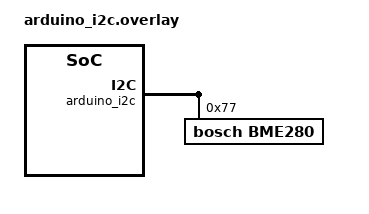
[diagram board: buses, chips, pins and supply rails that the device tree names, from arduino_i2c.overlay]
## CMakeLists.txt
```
# SPDX-License-Identifier: Apache-2.0

cmake_minimum_required(VERSION 3.20.0)
set(BOARD nucleo_f091rc)
find_package(Zephyr REQUIRED HINTS $ENV{ZEPHYR_BASE})
project(Weerstation)

# Voeg de include-directory toe aan de target zodat Weerstation.h gevonden kan worden
target_include_directories(app PRIVATE ${CMAKE_SOURCE_DIR}/include)

# Voeg alle C bestanden uit de src directory toe aan de target
FILE(GLOB app_sources src/*.c)
target_sources(app PRIVATE ${app_sources})
```

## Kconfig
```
# Copyright (c) 2020, Nordic Semiconductor ASA
# SPDX-License-Identifier: Apache-2.0

config LOG
	default y

config LOG_PRINTK
	default y

 config SENSOR_LOG_LEVEL
	default 4

# Enable SPI and I2C support by default so that the sample works with
# the device connected either way. These defaults can be overridden if
# needed.
config SPI
	default y

config I2C
	default y

source "Kconfig.zephyr"
```

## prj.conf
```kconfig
CONFIG_GPIO=y


CONFIG_PRINTK=y
CONFIG_HEAP_MEM_POOL_SIZE=256
CONFIG_ASSERT=y

#CONFIG_SERIAL=y
#CONFIG_UART_INTERRUPT_DRIVEN=y


#toevoeging voor de bme280 sensor
#CONFIG_SENSOR=y
CONFIG_SENSOR=y
CONFIG_I2C=y
CONFIG_BME280=y

#config for uart
CONFIG_SERIAL=y
CONFIG_UART_INTERRUPT_DRIVEN=y

CONFIG_SENSOR=y
CONFIG_SENSOR_ASYNC_API=y
```

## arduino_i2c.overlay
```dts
/*
 * Copyright (c) 2020, Nordic Semiconductor ASA
 *
 * SPDX-License-Identifier: Apache-2.0
 */

/*
 * Example configuration of a BME280 device on an Arduino I2C bus.
 *
 * Device address 0x77 is assumed. Your device may have a different
 * address; check your device documentation if unsure.
 */
&arduino_i2c {
	status = "okay";
	bme280@77 {
		compatible = "bosch,bme280";
		reg = <0x77>;
	};
};
```

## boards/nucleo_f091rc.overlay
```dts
/ {
    chosen {
		zephyr,console = &usart1;
		zephyr,shell-uart = &usart1;
    };
};

&usart1 {
	pinctrl-0 = <&usart1_tx_pa9 &usart1_rx_pa10>;
	pinctrl-names = "default";
	current-speed = <115200>;
	status = "okay";
};

&i2c1 { 
    pinctrl-0 = <&i2c1_scl_pb8 &i2c1_sda_pb9>;
    pinctrl-names = "default";
    clock-frequency = <I2C_BITRATE_STANDARD>;
    status = "okay";

    bme280: bme_280@76 {
        compatible = "bosch,bme280";
        reg = <0x76>;
        label = "bme_280";
        status = "okay";
    };
};
```

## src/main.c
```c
/*
 * Copyright (c) 2017 Linaro Limited
 *	Project group - A
 * SPDX-License-Identifier: Apache-2.0
 */

#include "Weerstation.h"

/*
	Sync measurements values
*/

volatile int temperature;
volatile int humidity;
volatile int pressure;

static const struct device *const uart_dev = DEVICE_DT_GET(UART_DEVICE_NODE); //Store in in variable uart_dev

//Function to send characters over UART
void print_uart(char *buf)
{
	int msg_len = strlen(buf);

	for (int i = 0; i < msg_len; i++) {
		uart_poll_out(uart_dev, buf[i]);
	}
}

/////////////////////////////////code voor het buffer gedeelte//////////////////////////////////////////////////

struct Measurement {
    int temperature;
    int pressure;
    int humidity;
};

struct Measurement databuffer[BUFFER_SIZE];
int buffer_index = 0;  // Huidige positie in de buffer

// Functie om metingen toe te voegen aan de buffer
void add_measurement(int temp, int press, int hum) {
    databuffer[buffer_index].temperature = temp;
    databuffer[buffer_index].pressure = press;
    databuffer[buffer_index].humidity = hum;
    
    // Update de buffer index, en wrap rond als we het maximale aantal bereiken (ringbuffer)
    buffer_index = (buffer_index + 1) % BUFFER_SIZE;
}

void send_buffered_data(void) {
    const char* api_key = "ESPIsAFunDevice12345";

    // Loop door de buffer en verstuur alle metingen
    for (int i = 0; i < BUFFER_SIZE; i++) {
		if (databuffer[i].humidity == 0)
		{
			break;
		}
		
        struct Measurement meas = databuffer[i];
        
        // Formatteer de meetgegevens als POST-data
        int post_data_length = snprintf(NULL, 0, "api_key=%s&temperature=%d&pressure=%d&humidity=%d",
                                        api_key, meas.temperature, meas.pressure, meas.humidity) + 1;
        char* buff_post_data = (char*) calloc(post_data_length, sizeof(char));
        snprintf(buff_post_data, post_data_length, "api_key=%s&temperature=%d&pressure=%d&humidity=%d",
                 api_key, meas.temperature, meas.pressure, meas.humidity);

        // Verzend de POST-data via de ESP-module
        int content_length = snprintf(NULL, 0, "Content-Length: %d\r\n", post_data_length) + 1;
        char* buff_content = (char*) calloc(content_length, sizeof(char));
        snprintf(buff_content, content_length, "Content-Length: %d\r\n", post_data_length);

        int request_length = snprintf(NULL, 0, "POST /Request_data_ESP/post-data.php HTTP/1.1\r\n"
                                          "Host: 172.20.10.10\r\n"
                                          "Content-Type: application/x-www-form-urlencoded\r\n"
                                          "%s\r\n%s\r\n", buff_content, buff_post_data) + 1;
        char* buff_request = (char*) calloc(request_length, sizeof(char));
        snprintf(buff_request, request_length, "POST /Request_data_ESP/post-data.php HTTP/1.1\r\n"
                                              "Host: 172.20.10.10\r\n"
                                              "Content-Type: application/x-www-form-urlencoded\r\n"
                                              "%s\r\n%s\r\n", buff_content, buff_post_data);

        int sendData_length = snprintf(NULL, 0, "AT+CIPSEND=%d\r\n", request_length) + 1;
        char* buff_data_send = (char*) calloc(sendData_length, sizeof(char));
        snprintf(buff_data_send, sendData_length, "AT+CIPSEND=%d\r\n", request_length);

        // Verstuur de lengte van de POST data
        print_uart(buff_data_send);
        k_sleep(K_MSEC(2000));

        // Verstuur de daadwerkelijke POST data
        print_uart(buff_request);
        k_sleep(K_MSEC(2000));

        // Free de geheugenbuffers
        free(buff_post_data);
        free(buff_content);
        free(buff_request);
        free(buff_data_send);
    }

    print_uart("AT+CIPCLOSE\r\n"); // Sluit de verbinding na het versturen van de gegevens
    k_sleep(K_MSEC(2000));
}

///////////////////////////////////einde code voor het buffer gedeelte////////////////////////////////////////////////


//code init bme280
static const struct device *get_bme280_device(void)
{
	const struct device *const dev = DEVICE_DT_GET_ANY(bosch_bme280);

	if (dev == NULL) {
		/* No such node, or the node does not have status "okay". */
		printk("\nError: no device found.\n");
		return NULL;
	}

	if (!device_is_ready(dev)) {
		printk("\nError: Device \"%s\" is not ready; "
		       "check the driver initialization logs for errors.\n",
		       dev->name);
		return NULL;
	}

	printk("Found device \"%s\", getting sensor data\n", dev->name);
	return dev;
}


//ESP thread
void esp(void)
{
	const char* api_key = "ESPIsAFunDevice12345"; //API key extra protection

	//Request string for posting data to webserver
	const char* strRequest = "POST /Request_data_ESP/post-data.php HTTP/1.1\r\n"
							 "Host: 172.20.10.10\r\n"
							 "Content-Type: application/x-www-form-urlencoded\r\n";

	//Contionous flow of data to webserver
	while (1)
	{
		print_uart("AT\r\n"); //simple AT commando
		k_sleep(K_MSEC(2000));
		print_uart("AT+CIFSR\r\n"); //validate IP address
		k_sleep(K_MSEC(2000));
		print_uart("AT+CIPSTART=\"TCP\",\"172.20.10.10\",80\r\n"); //Start server connection to localhost
		k_sleep(K_MSEC(2000));

		//INIT data that needs to be posted to webserver (variables) 
		int post_data_length = snprintf(NULL, 0, "api_key=%s&temperature=%d&pressure=%d&humidity=%d", 
										api_key, temperature, pressure, humidity) + 1; //Get length of the message + 1 for /0
		char* buff_post_data = (char*) calloc(post_data_length, sizeof(char)); //Allocate space for the buffer
		snprintf(buff_post_data, post_data_length, "api_key=%s&temperature=%d&pressure=%d&humidity=%d", api_key, temperature, pressure, humidity); //store the message in buffer

		//INIT content length in REQUEST string 
		int content_length = snprintf(NULL, 0, "Content-Length: %d\r\n", post_data_length) + 1; //Get length of the string + 1 for /0
		char* buff_content = (char*) calloc(content_length, sizeof(char)); //Allocate space for the buffer
		snprintf(buff_content, content_length, "Content-Length: %d\r\n", post_data_length); //store the message in buffer

		//INIT FULL REQUEST for posting data
		int request_length = snprintf(NULL, 0, "%s%s\r\n%s\r\n", 
									strRequest, buff_content, buff_post_data) + 1; //Get length of the full request + 1 for /0
		char* buff_request = (char*) calloc(request_length, sizeof(char)); //Allocate space for the buffer
		snprintf(buff_request, request_length, "%s%s\r\n%s\r\n", strRequest, buff_content, buff_post_data); //store the message in buffer

		//INIT for CHIPSEND data length for ESP command
		int sendData_length = snprintf(NULL, 0, "AT+CIPSEND=%d\r\n", request_length) + 1; //Get length of the full request + 1 for /0
		char* buff_data_send = (char*) calloc(sendData_length, sizeof(char)); //Allocate space for the buffer
		snprintf(buff_data_send, sendData_length, "AT+CIPSEND=%d\r\n", request_length); //store the message in buffer

		// print_uart("AT+CWJAP=\"iPhone van Mike\",'\"wiskunde01\r\n");
		k_sleep(K_MSEC(2000));

		print_uart(buff_data_send); //First send the length of receiving message to ESP
		k_sleep(K_MSEC(2000));
		print_uart(buff_request); //SEND the POST method with data to webserver
		k_sleep(K_MSEC(2000));

		//Free the allocations
		free(buff_post_data);
		free(buff_content);
		free(buff_request);
		free(buff_data_send);

		k_sleep(K_MSEC(2000));

		//send_buffered_data();
	}
	print_uart("AT+CIPCLOSE\r\n"); //After program end connection
}

//sensor thread
void sensor(void)
{
	const struct device *dev = get_bme280_device();

		for (int i = 0; i < BUFFER_SIZE; i++) {
	    databuffer[i].temperature = 0;
		databuffer[i].pressure = 0;
		databuffer[i].humidity = 0;
	}
	
	while(1){
		struct sensor_value temp, press, hum;

		sensor_sample_fetch(dev);
		sensor_channel_get(dev, SENSOR_CHAN_AMBIENT_TEMP, &temp);
		sensor_channel_get(dev, SENSOR_CHAN_PRESS, &press);
		sensor_channel_get(dev, SENSOR_CHAN_HUMIDITY, &hum);

		temperature = temp.val1;  
		pressure = press.val1;
		humidity = hum.val1;

		// Voeg de meetwaarden toe aan de buffer
		//add_measurement(temperature, pressure, humidity);

		k_sleep(K_MSEC(2000));
	}
}

//Thread defines (ESP & BME280)
K_THREAD_DEFINE(sensor_id, STACKSIZE, sensor, NULL, NULL, NULL,
		PRIORITY, 0, 0);
K_THREAD_DEFINE(esp_id, STACKSIZE, esp, NULL, NULL, NULL,
		PRIORITY, 0, 0);
```

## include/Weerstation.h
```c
#ifndef WEERSTATION_H
#define WEERSTATION_H

//alle includes
#include <zephyr/kernel.h>
#include <zephyr/drivers/gpio.h>
#include <zephyr/sys/printk.h>
#include <zephyr/sys/__assert.h>
#include <zephyr/devicetree.h>
#include <zephyr/drivers/sensor.h>
#include <zephyr/device.h>
#include <zephyr/drivers/uart.h>
#include <string.h>
#include <stdlib.h>

//defines for system
#define STACKSIZE 1024
#define PRIORITY 7
#define UART_DEVICE_NODE DT_NODELABEL(usart1) //Define the uart from DT
#define BUFFER_SIZE 200  // Voor 24 uur bij 1 meting per minuut

#endif // WEERSTATION_H
```
